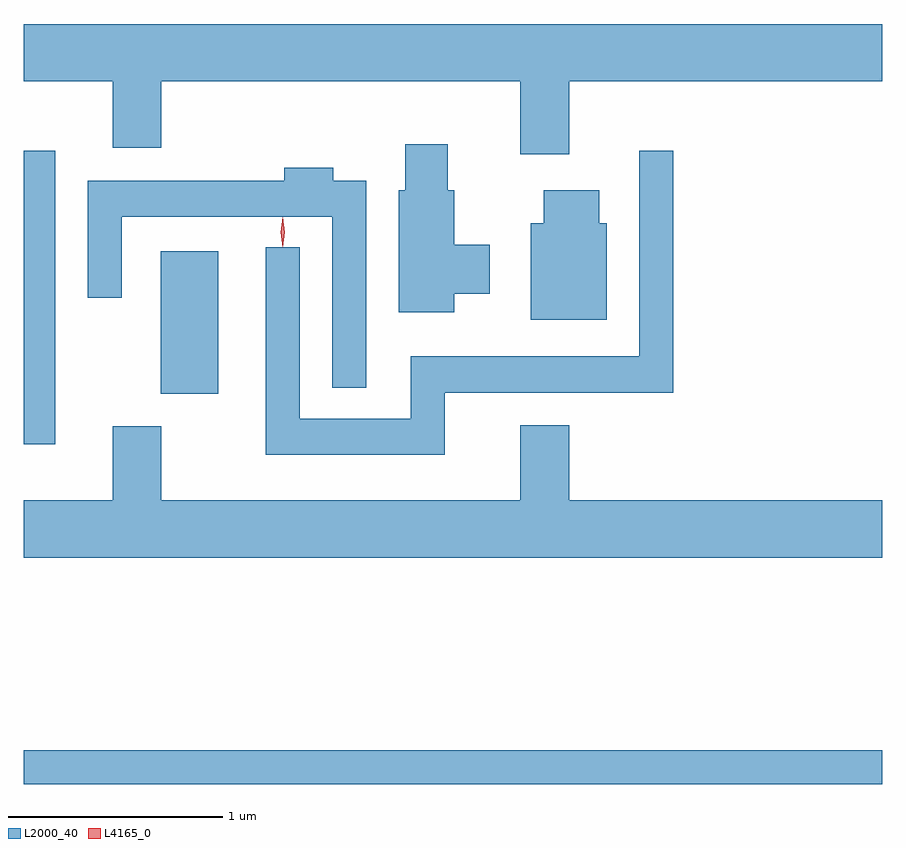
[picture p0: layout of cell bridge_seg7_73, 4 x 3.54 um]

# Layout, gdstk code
import gdstk
lib = gdstk.Library(unit=1e-6, precision=1e-09)
def R(c, l, rs):  # rectangles x0, y0, x1, y1
    for r in rs: c.add(gdstk.rectangle(r[:2], r[2:], *l))
def P(c, l, *ps):  # polygons
    for p in ps: c.add(gdstk.Polygon(p, *l))
L2000_40 = (2000, 40)
L4165_0 = (4165, 0)

bridge_seg7_73 = lib.new_cell('bridge_seg7_73')
R(bridge_seg7_73, L2000_40, [(1567.718,1779.861,1571.718,1780.019), (1567.718,1781.446,1567.864,1782.813), (1568.356,1781.681,1568.624,1782.344)])
P(bridge_seg7_73, L2000_40, [(1570.259,1783.136),(1571.718,1783.136),(1571.718,1783.404),(1567.718,1783.404),(1567.718,1783.136),(1568.131,1783.136),(1568.131,1782.826),(1568.359,1782.826),(1568.359,1783.136),(1570.031,1783.136),(1570.031,1782.796),(1570.259,1782.796)],
  [(1569.724,1782.146),(1569.889,1782.146),(1569.889,1782.374),(1569.724,1782.374),(1569.724,1782.629),(1569.694,1782.629),(1569.694,1782.844),(1569.496,1782.844),(1569.496,1782.629),(1569.466,1782.629),(1569.466,1782.061),(1569.724,1782.061)],
  [(1569.679,1781.686),(1570.744,1781.686),(1570.744,1782.813),(1570.586,1782.813),(1570.586,1781.854),(1569.521,1781.854),(1569.521,1781.564),(1569.004,1781.564),(1569.004,1782.363),(1568.846,1782.363),(1568.846,1781.396),(1569.679,1781.396)],
  [(1569.314,1782.674),(1569.159,1782.674),(1569.159,1782.734),(1568.931,1782.734),(1568.931,1782.674),(1568.016,1782.674),(1568.016,1782.128),(1568.174,1782.128),(1568.174,1782.506),(1569.156,1782.506),(1569.156,1781.708),(1569.314,1781.708)],
  [(1570.434,1782.474),(1570.399,1782.474),(1570.399,1782.629),(1570.141,1782.629),(1570.141,1782.474),(1570.081,1782.474),(1570.081,1782.026),(1570.434,1782.026)],
  [(1571.718,1781.184),(1570.259,1781.184),(1570.259,1781.534),(1570.031,1781.534),(1570.031,1781.184),(1568.359,1781.184),(1568.359,1781.529),(1568.131,1781.529),(1568.131,1781.184),(1567.718,1781.184),(1567.718,1780.916),(1571.718,1780.916)])
P(bridge_seg7_73, L4165_0, [(1568.924,1782.364),(1568.924,1782.364),(1568.914,1782.434),(1568.924,1782.502),(1568.924,1782.503),(1568.925,1782.502),(1568.934,1782.434),(1568.925,1782.364)],
  [(1568.924,1782.367),(1568.924,1782.367),(1568.914,1782.434),(1568.924,1782.5),(1568.924,1782.5),(1568.925,1782.5),(1568.934,1782.434),(1568.925,1782.367)])

lib.write_gds('bridge_seg7_73.gds')
